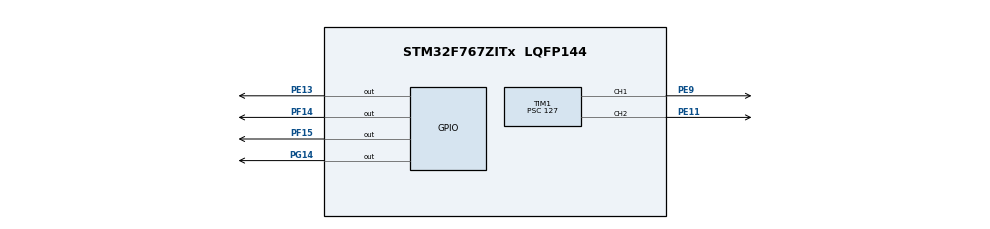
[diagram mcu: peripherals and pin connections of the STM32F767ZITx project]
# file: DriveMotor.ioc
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Mcu.Family=STM32F7
Mcu.Name=STM32F767ZITx
Mcu.Package=LQFP144
NVIC.PriorityGroup=NVIC_PRIORITYGROUP_4
PE11.Signal=S_TIM1_CH2
PE13.Signal=GPIO_Output
PE9.Signal=S_TIM1_CH1
PF14.Signal=GPIO_Output
PF15.Signal=GPIO_Output
PG14.Signal=GPIO_Output
PH0/OSC_IN.Mode=HSE-External-Oscillator
PH0/OSC_IN.Signal=RCC_OSC_IN
PH1/OSC_OUT.Mode=HSE-External-Oscillator
PH1/OSC_OUT.Signal=RCC_OSC_OUT
ProjectManager.HeapSize=0x200
ProjectManager.StackSize=0x400
ProjectManager.TargetToolchain=STM32CubeIDE
RCC.HSE_VALUE=25000000
RCC.HSI_VALUE=16000000
RCC.LSE_VALUE=32768
RCC.USBFreq_Value=96000000
RCC.VCOOutputFreq_Value=192000000
SH.S_TIM1_CH1.0=TIM1_CH1,PWM Generation1 CH1
SH.S_TIM1_CH2.0=TIM1_CH2,PWM Generation2 CH2
TIM1.Channel-PWM\ Generation1\ CH1=TIM_CHANNEL_1
TIM1.Channel-PWM\ Generation2\ CH2=TIM_CHANNEL_2
TIM1.Period=625
TIM1.Prescaler=127
VP_TIM1_VS_ClockSourceINT.Mode=Internal
board=custom

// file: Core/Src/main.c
/* USER CODE BEGIN Header */
/**
  ******************************************************************************
  * @file           : main.c
  * @brief          : Main program body
  ******************************************************************************
  * @attention
  *
  * Copyright (c) 2024 STMicroelectronics.
  * All rights reserved.
  *
  * This software is licensed under terms that can be found in the LICENSE file
  * in the root directory of this software component.
  * If no LICENSE file comes with this software, it is provided AS-IS.
  *
  ******************************************************************************
  */
/* USER CODE END Header */
#include "main.h"
#include "tim.h"
#include "gpio.h"

void SystemClock_Config(void);
static void MPU_Config(void);

int main(void)
{

  /* MPU Configuration--------------------------------------------------------*/
  MPU_Config();

  /* MCU Configuration--------------------------------------------------------*/

  /* Reset of all peripherals, Initializes the Flash interface and the Systick. */
  HAL_Init();

  /* Configure the system clock */
  SystemClock_Config();

  /* Initialize all configured peripherals */
  MX_GPIO_Init();
  MX_TIM1_Init();
  /* USER CODE BEGIN 2 */
  //https://www.micropeta.com/video20
  int speed_right;
  HAL_GPIO_WritePin(GPIOF, GPIO_PIN_14, 0);
  HAL_GPIO_WritePin(GPIOE, GPIO_PIN_13, 0);
  HAL_TIM_PWM_Start(&htim1, TIM_CHANNEL_1);
  int speed_left;
  HAL_GPIO_WritePin(GPIOF, GPIO_PIN_15, 0);
  HAL_GPIO_WritePin(GPIOG, GPIO_PIN_14, 0);
  HAL_TIM_PWM_Start(&htim1, TIM_CHANNEL_2);
  /* USER CODE END 2 */

  /* Infinite loop */
  while (1)
  {

    /* USER CODE BEGIN 3 */
	  //right backward
	  HAL_GPIO_WritePin(GPIOF, GPIO_PIN_14, 0);
	  HAL_GPIO_WritePin(GPIOE, GPIO_PIN_13, 1);
	  speed_right = 255;
	  __HAL_TIM_SET_COMPARE(&htim1,TIM_CHANNEL_1, speed_right);

	  //left backward
	  HAL_GPIO_WritePin(GPIOF, GPIO_PIN_15, 1);
	  HAL_GPIO_WritePin(GPIOG, GPIO_PIN_14, 0);
	  speed_left = 255;
	  __HAL_TIM_SET_COMPARE(&htim1,TIM_CHANNEL_2, speed_left);

  }
  /* USER CODE END 3 */
}

void SystemClock_Config(void)
{
  RCC_OscInitTypeDef RCC_OscInitStruct = {0};
  RCC_ClkInitTypeDef RCC_ClkInitStruct = {0};

  /** Configure the main internal regulator output voltage
  */
  __HAL_RCC_PWR_CLK_ENABLE();
  __HAL_PWR_VOLTAGESCALING_CONFIG(PWR_REGULATOR_VOLTAGE_SCALE3);

  /** Initializes the RCC Oscillators according to the specified parameters
  * in the RCC_OscInitTypeDef structure.
  */
  RCC_OscInitStruct.OscillatorType = RCC_OSCILLATORTYPE_HSI;
  RCC_OscInitStruct.HSIState = RCC_HSI_ON;
  RCC_OscInitStruct.HSICalibrationValue = RCC_HSICALIBRATION_DEFAULT;
  RCC_OscInitStruct.PLL.PLLState = RCC_PLL_NONE;
  if (HAL_RCC_OscConfig(&RCC_OscInitStruct) != HAL_OK)
  {
    Error_Handler();
  }

  /** Initializes the CPU, AHB and APB buses clocks
  */
  RCC_ClkInitStruct.ClockType = RCC_CLOCKTYPE_HCLK|RCC_CLOCKTYPE_SYSCLK
                              |RCC_CLOCKTYPE_PCLK1|RCC_CLOCKTYPE_PCLK2;
  RCC_ClkInitStruct.SYSCLKSource = RCC_SYSCLKSOURCE_HSI;
  RCC_ClkInitStruct.AHBCLKDivider = RCC_SYSCLK_DIV1;
  RCC_ClkInitStruct.APB1CLKDivider = RCC_HCLK_DIV1;
  RCC_ClkInitStruct.APB2CLKDivider = RCC_HCLK_DIV1;

  if (HAL_RCC_ClockConfig(&RCC_ClkInitStruct, FLASH_LATENCY_0) != HAL_OK)
  {
    Error_Handler();
  }
}

/* MPU Configuration */

void MPU_Config(void)
{
  MPU_Region_InitTypeDef MPU_InitStruct = {0};

  /* Disables the MPU */
  HAL_MPU_Disable();

  /** Initializes and configures the Region and the memory to be protected
  */
  MPU_InitStruct.Enable = MPU_REGION_ENABLE;
  MPU_InitStruct.Number = MPU_REGION_NUMBER0;
  MPU_InitStruct.BaseAddress = 0x0;
  MPU_InitStruct.Size = MPU_REGION_SIZE_4GB;
  MPU_InitStruct.SubRegionDisable = 0x87;
  MPU_InitStruct.TypeExtField = MPU_TEX_LEVEL0;
  MPU_InitStruct.AccessPermission = MPU_REGION_NO_ACCESS;
  MPU_InitStruct.DisableExec = MPU_INSTRUCTION_ACCESS_DISABLE;
  MPU_InitStruct.IsShareable = MPU_ACCESS_SHAREABLE;
  MPU_InitStruct.IsCacheable = MPU_ACCESS_NOT_CACHEABLE;
  MPU_InitStruct.IsBufferable = MPU_ACCESS_NOT_BUFFERABLE;

  HAL_MPU_ConfigRegion(&MPU_InitStruct);
  /* Enables the MPU */
  HAL_MPU_Enable(MPU_PRIVILEGED_DEFAULT);

}

void Error_Handler(void)
{
  __disable_irq();
  while (1)
  {
  }
}
